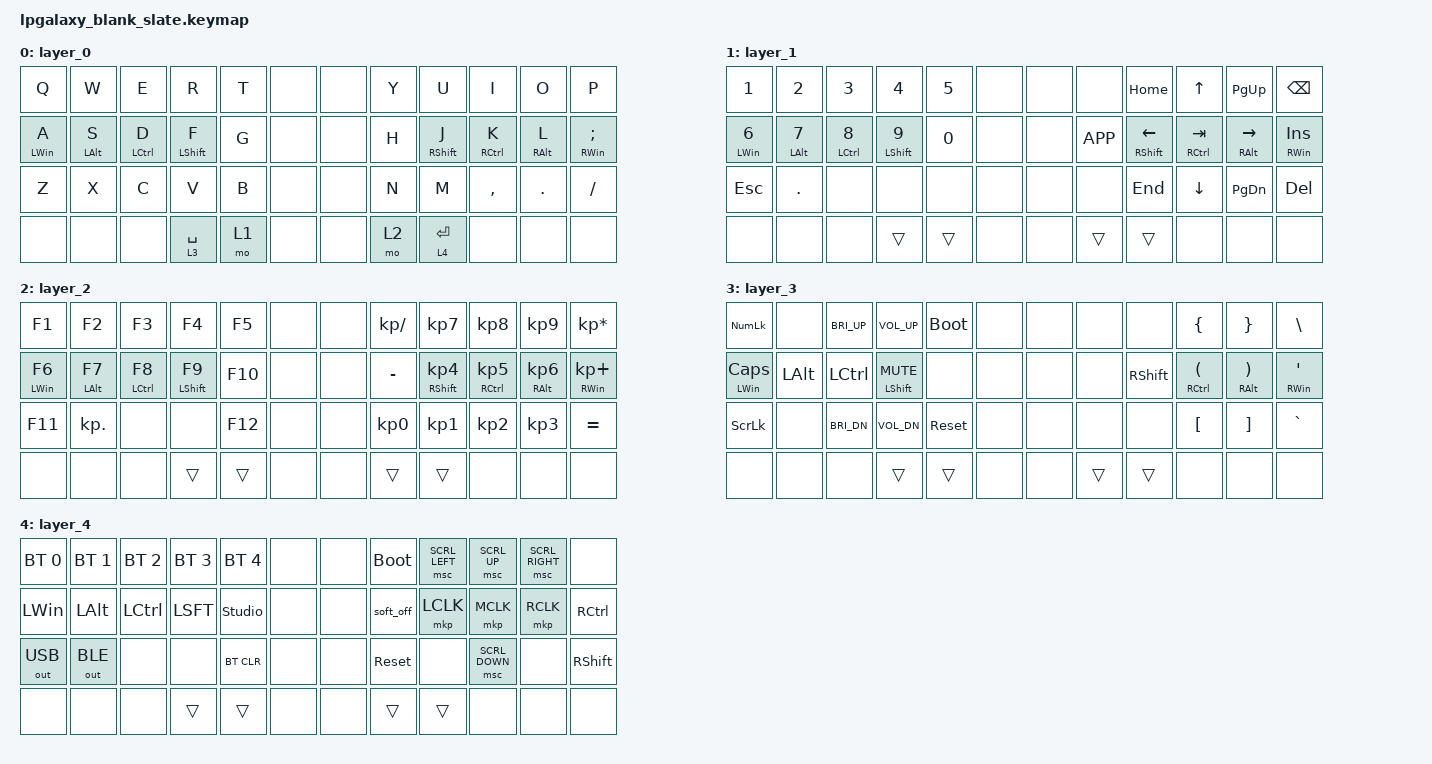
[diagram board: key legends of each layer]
/*
 * Copyright (c) 2021 The ZMK Contributors
 *
 * SPDX-License-Identifier: MIT
 */

// options and definition for mouse emulaton: https://zmk.dev/docs/keymaps/behaviors/mouse-emulation
// #define ZMK_POINTING_DEFAULT_MOVE_VAL 600   // default: 600
#define ZMK_POINTING_DEFAULT_SCRL_VAL 10    // default: 10
#include <dt-bindings/zmk/pointing.h>

#include <behaviors.dtsi>
#include <dt-bindings/zmk/keys.h>
#include <dt-bindings/zmk/bt.h>
#include <dt-bindings/zmk/outputs.h>

// Using layer taps on thumbs, having quick tap as well helps w/ repeating space/backspace
&lt { quick_tap_ms = <200>; };

// Change Soft-Off keypress hold time to 5 seconds
&soft_off {hold-time-ms = <5000>; };

/ {
    behaviors {
        hm: homerow_mods {
            compatible = "zmk,behavior-hold-tap";
            label = "HOMEROW_MODS";
            #binding-cells = <2>;
            tapping-term-ms = <200>;
            quick-tap-ms = <200>;
            require-prior-idle-ms = <125>;
            flavor = "tap-preferred";
            bindings = <&kp>, <&kp>;
        };

        msc: mouse_scroll {
            compatible = "zmk,behavior-input-two-axis";
            #binding-cells = <1>;
            x-input-code = <INPUT_REL_HWHEEL>;
            y-input-code = <INPUT_REL_WHEEL>;
            // trigger-period-ms = <16>;
            // delay-ms = <0>;
            // time-to-max-speed-ms = <0>;
            acceleration-exponent = <0>;
         };
    };


    keymap {
        compatible = "zmk,keymap";
        layer_0 {
            bindings = <
// ╭─────────────┬─────────────┬─────────────┬─────────────┬─────────────╮              ╭─────────────┬─────────────┬─────────────┬─────────────┬─────────────╮
    &kp Q         &kp W         &kp E         &kp R         &kp T          &none &none   &kp Y         &kp U         &kp I         &kp O         &kp P
// ├─────────────┼─────────────┼─────────────┼─────────────┼─────────────┤              ├─────────────┼─────────────┼─────────────┼─────────────┼─────────────┤
    &hm LWIN A    &hm LALT S    &hm LCTRL D   &hm LSHIFT F  &kp G          &none &none   &kp H         &hm RSHIFT J  &hm RCTRL K   &hm RALT L    &hm RWIN SEMI
// ├─────────────┼─────────────┼─────────────┼─────────────┼─────────────┤              ├─────────────┼─────────────┼─────────────┼─────────────┼─────────────┤
    &kp Z         &kp X         &kp C         &kp V         &kp B          &none &none   &kp N         &kp M         &kp COMMA     &kp DOT       &kp SLASH
// ╰─────────────┴─────────────┴─────────────┼─────────────┼─────────────┤              ├─────────────┼─────────────┼─────────────┴─────────────┴─────────────╯
    &none         &none         &none         &lt 3 SPACE   &mo 1          &none &none   &mo 2         &lt 4 ENTER   &none         &none         &none
//                                           ╰─────────────┴─────────────╯              ╰─────────────┴─────────────╯
            >;
        };
        layer_1 {
            bindings = <
// ╭─────────────┬─────────────┬─────────────┬─────────────┬─────────────╮              ╭─────────────┬─────────────┬─────────────┬─────────────┬─────────────╮
    &kp N1        &kp N2        &kp N3        &kp N4        &kp N5         &none &none   &none         &kp HOME      &kp UP        &kp PAGE_UP   &kp BACKSPACE
// ├─────────────┼─────────────┼─────────────┼─────────────┼─────────────┤              ├─────────────┼─────────────┼─────────────┼─────────────┼─────────────┤
    &hm LWIN N6   &hm LALT N7   &hm LCTRL N8  &hm LSHIFT N9 &kp N0         &none &none   &kp K_APP     &hm RSHIFT LEFT &hm RCTRL TAB &hm RALT RIGHT &hm RWIN INSERT
// ├─────────────┼─────────────┼─────────────┼─────────────┼─────────────┤              ├─────────────┼─────────────┼─────────────┼─────────────┼─────────────┤
    &kp ESCAPE    &kp DOT       &none         &none         &none          &none &none   &none         &kp END       &kp DOWN      &kp PAGE_DOWN &kp DELETE
// ╰─────────────┴─────────────┴─────────────┼─────────────┼─────────────┤              ├─────────────┼─────────────┼─────────────┴─────────────┴─────────────╯
    &none         &none         &none         &trans        &trans         &none &none   &trans        &trans        &none         &none         &none
//                                           ╰─────────────┴─────────────╯              ╰─────────────┴─────────────╯
            >;
        };
        layer_2 {
            bindings = <
// ╭─────────────┬─────────────┬─────────────┬─────────────┬─────────────╮              ╭─────────────┬─────────────┬─────────────┬─────────────┬─────────────╮
    &kp F1        &kp F2        &kp F3        &kp F4        &kp F5         &none &none   &kp KP_DIVIDE &kp KP_N7     &kp KP_N8     &kp KP_N9     &kp KP_MULTIPLY
// ├─────────────┼─────────────┼─────────────┼─────────────┼─────────────┤              ├─────────────┼─────────────┼─────────────┼─────────────┼─────────────┤
    &hm LWIN F6   &hm LALT F7   &hm LCTRL F8  &hm LSHIFT F9 &kp F10        &none &none   &kp MINUS     &hm RSHFT KP_N4 &hm RCTRL KP_N5 &hm RALT KP_N6 &hm RWIN KP_PLUS
// ├─────────────┼─────────────┼─────────────┼─────────────┼─────────────┤              ├─────────────┼─────────────┼─────────────┼─────────────┼─────────────┤
    &kp F11       &kp KP_DOT    &none         &none         &kp F12        &none &none   &kp KP_N0     &kp KP_N1     &kp KP_N2     &kp KP_N3     &kp EQUAL
// ╰─────────────┴─────────────┴─────────────┼─────────────┼─────────────┤              ├─────────────┼─────────────┼─────────────┴─────────────┴─────────────╯
    &none         &none         &none         &trans        &trans         &none &none   &trans        &trans        &none         &none         &none
//                                           ╰─────────────┴─────────────╯              ╰─────────────┴─────────────╯
            >;
        };
        layer_3 {
            bindings = <
// ╭─────────────┬─────────────┬─────────────┬─────────────┬─────────────╮              ╭─────────────┬─────────────┬─────────────┬─────────────┬─────────────╮
    &kp KP_NLCK   &none         &kp C_BRI_UP  &kp C_VOL_UP  &bootloader    &none &none   &none         &none         &kp LBRC      &kp RBRC      &kp BACKSLASH
// ├─────────────┼─────────────┼─────────────┼─────────────┼─────────────┤              ├─────────────┼─────────────┼─────────────┼─────────────┼─────────────┤
    &hm LWIN CLCK &kp LALT      &kp LCTRL     &hm LSHFT C_MUTE    &none    &none &none   &none         &kp RSHFT     &hm RCTRL LPAR &hm RALT RPAR &hm RWIN APOSTROPHE
// ├─────────────┼─────────────┼─────────────┼─────────────┼─────────────┤              ├─────────────┼─────────────┼─────────────┼─────────────┼─────────────┤
    &kp SLCK      &none         &kp C_BRI_DN  &kp C_VOL_DN  &sys_reset     &none &none   &none         &none         &kp LBKT      &kp RBKT      &kp GRAVE
// ╰─────────────┴─────────────┴─────────────┼─────────────┼─────────────┤              ├─────────────┼─────────────┼─────────────┴─────────────┴─────────────╯
    &none         &none         &none         &trans        &trans         &none &none   &trans        &trans        &none         &none         &none
//                                           ╰─────────────┴─────────────╯              ╰─────────────┴─────────────╯
            >;
        };
        layer_4 {
            bindings = <
// ╭─────────────┬─────────────┬─────────────┬─────────────┬─────────────╮              ╭─────────────┬─────────────┬─────────────┬─────────────┬─────────────╮
    &bt BT_SEL 0  &bt BT_SEL 1  &bt BT_SEL 2  &bt BT_SEL 3  &bt BT_SEL 4   &none &none   &bootloader   &msc SCRL_LEFT &msc SCRL_UP &msc SCRL_RIGHT &none        
// ├─────────────┼─────────────┼─────────────┼─────────────┼─────────────┤              ├─────────────┼─────────────┼─────────────┼─────────────┼─────────────┤
    &kp LWIN      &kp LALT      &kp LCTRL     &kp LSFT      &studio_unlock &none &none   &soft_off     &mkp LCLK     &mkp MCLK     &mkp RCLK     &kp RCTRL         
// ├─────────────┼─────────────┼─────────────┼─────────────┼─────────────┤              ├─────────────┼─────────────┼─────────────┼─────────────┼─────────────┤
    &out OUT_USB  &out OUT_BLE  &none         &none         &bt BT_CLR     &none &none   &sys_reset    &none         &msc SCRL_DOWN &none        &kp RSHFT         
// ╰─────────────┴─────────────┴─────────────┼─────────────┼─────────────┤              ├─────────────┼─────────────┼─────────────┴─────────────┴─────────────╯
    &none         &none         &none         &trans        &trans         &none &none   &trans        &trans        &none         &none         &none
//                                           ╰─────────────┴─────────────╯              ╰─────────────┴─────────────╯
            >;
        };
    };
};
